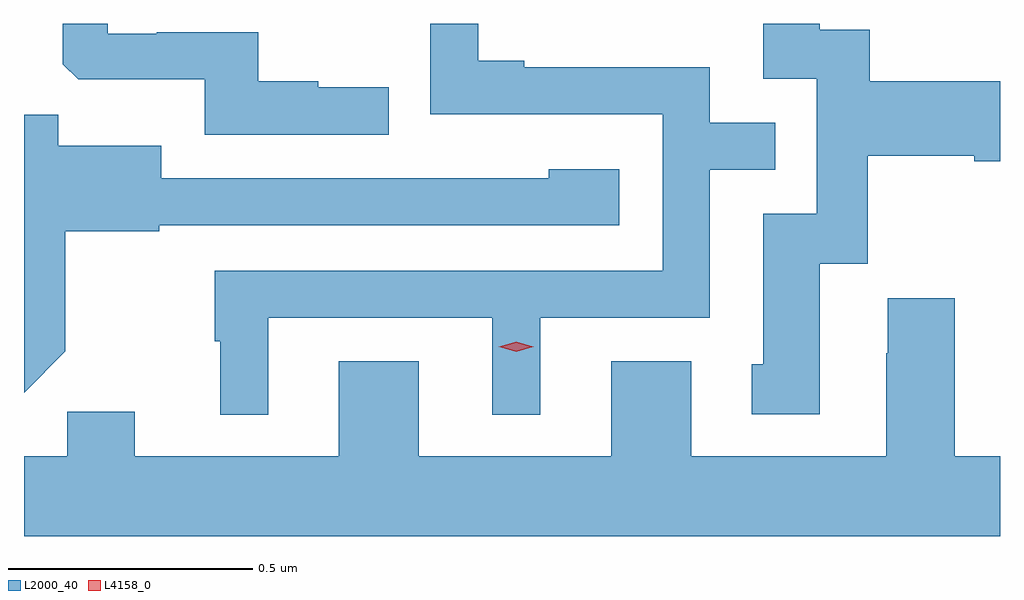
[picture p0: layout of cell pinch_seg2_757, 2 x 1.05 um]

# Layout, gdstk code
import gdstk
lib = gdstk.Library(unit=1e-6, precision=1e-09)
def P(c, l, *ps):  # polygons
    for p in ps: c.add(gdstk.Polygon(p, *l))
L2000_40 = (2000, 40)
L4158_0 = (4158, 0)

pinch_seg2_757 = lib.new_cell('pinch_seg2_757')
P(pinch_seg2_757, L2000_40, [(874.153,640.202),(874.251,640.202),(874.251,640.424),(874.469,640.424),(874.469,640.412),(874.522,640.412),(874.522,640.576),(874.255,640.576),(874.255,640.682),(874.153,640.682),(874.153,640.694),(874.037,640.694),(874.037,640.581),(874.146,640.581),(874.146,640.305),(874.037,640.305),(874.037,639.996),(874.013,639.996),(874.013,639.894),(874.153,639.894)],
  [(873.269,640.564),(873.125,640.564),(873.125,640.576),(873.002,640.576),(873.002,640.677),(872.794,640.677),(872.794,640.674),(872.694,640.674),(872.694,640.694),(872.601,640.694),(872.601,640.611),(872.633,640.58),(872.892,640.58),(872.892,640.467),(873.269,640.467)],
  [(873.022,640.092),(873.482,640.092),(873.482,639.893),(873.58,639.893),(873.58,640.092),(873.927,640.092),(873.927,640.395),(874.061,640.395),(874.061,640.491),(873.927,640.491),(873.927,640.605),(873.547,640.605),(873.547,640.618),(873.453,640.618),(873.453,640.694),(873.354,640.694),(873.354,640.509),(873.831,640.509),(873.831,640.188),(872.913,640.188),(872.913,640.044),(872.924,640.044),(872.924,639.893),(873.022,639.893)],
  [(872.607,640.023),(872.607,640.269),(872.799,640.269),(872.799,640.281),(873.742,640.281),(873.742,640.396),(873.597,640.396),(873.597,640.378),(873.361,640.378),(873.361,640.377),(872.803,640.377),(872.803,640.444),(872.592,640.444),(872.592,640.508),(872.522,640.508),(872.522,639.938)],
  [(874.522,639.808),(874.429,639.808),(874.429,640.132),(874.292,640.132),(874.292,640.019),(874.289,640.019),(874.289,639.808),(873.889,639.808),(873.889,640.003),(873.725,640.003),(873.725,639.808),(873.331,639.808),(873.331,640.003),(873.167,640.003),(873.167,639.808),(872.749,639.808),(872.749,639.899),(872.611,639.899),(872.611,639.808),(872.522,639.808),(872.522,639.644),(874.522,639.644)])
P(pinch_seg2_757, L4158_0, [(873.531,640.022),(873.495,640.032),(873.495,640.032),(873.495,640.032),(873.531,640.042),(873.566,640.032),(873.567,640.032),(873.566,640.032)])

lib.write_gds('pinch_seg2_757.gds')
